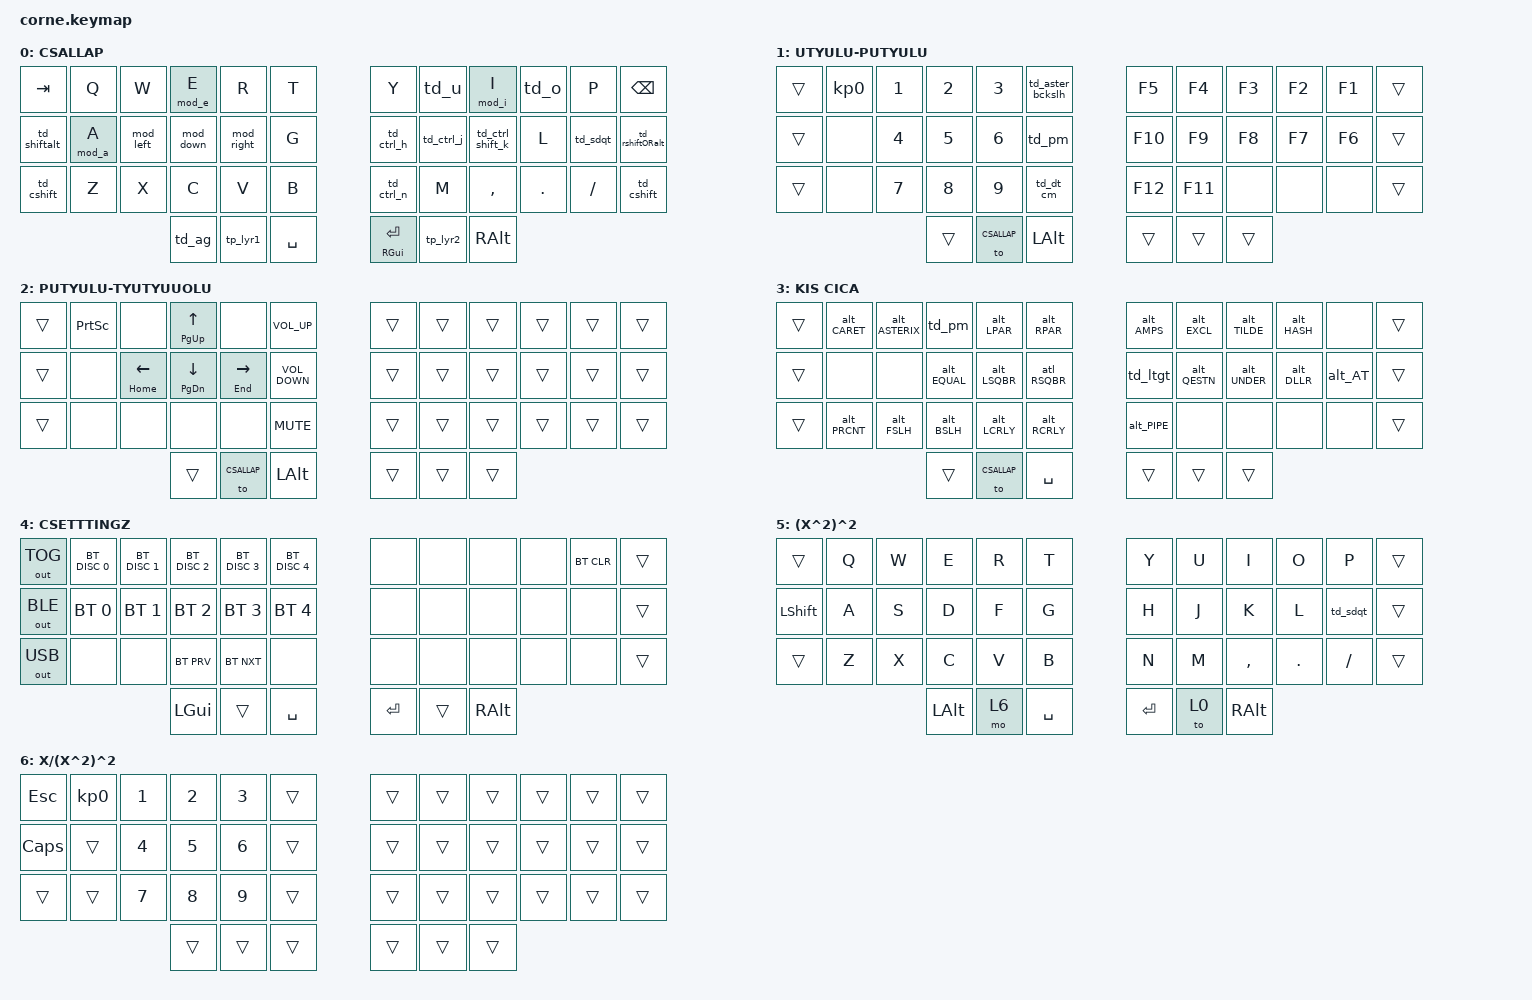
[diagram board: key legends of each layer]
#include <behaviors.dtsi>
#include <dt-bindings/zmk/bt.h>
#include <dt-bindings/zmk/keys.h>
#include <dt-bindings/zmk/outputs.h>
#define CSALLAP 0
#define NUMPAD 1
#define ARROW 2
#define KIS_CICA 3
#define CSETTINGZ 4
#define GAME 5
#define GAMENUM 6

    &caps_word {
        continue-list = <UNDERSCORE MINUS LALT N0 KP_N0 N1 N2 N3 N4 N5 N6 N7 N8 N9 NON_US_HASH LEFT_BRACKET>;
    };

/ {
 
    combos {

        compatible = "zmk,combos";

        combo_gamelayer {
            timeout-ms = <50>;
            key-positions = <37 40>;
            bindings = <&to GAME>;
        };

        combo_settinglayer {
            timeout-ms = <50>;
            key-positions = <0 36 11 41>;
            bindings = <&to CSETTINGZ>;
        };

        combo_numpadlayer {
            timeout-ms = <50>;
            key-positions = <0 36>;
            bindings = <&to NUMPAD>;
        };

        combo_baselayer {
            timeout-ms = <50>;
            key-positions = <37 38 39 40>;
            bindings = <&to CSALLAP>;
        };


        combo_ctrl_gui {
            timeout-ms = <50>;
            key-positions = <38 39>;
            bindings = <&kp LG(LCTRL)>;
        };


        combo_esc {
            timeout-ms = <50>;
            key-positions = <0 1>;
            bindings = <&kp ESC>;
        };

        combo_shiftalt {
            timeout-ms = <50>;
            key-positions = <12 13>;
            bindings = <&caps_word>;
        };

        combo_del {
            timeout-ms = <50>;
            key-positions = <10 11>;
            bindings = <&kp DEL>;
        };

        combo_gui {
            timeout-ms = <50>;
            key-positions = <22 23>;
            bindings = <&kp LGUI>;
        };
    };

    macros {
        m_alt_a: m_alt_a {
            compatible = "zmk,behavior-macro";
            #binding-cells = <0>;
            bindings =
                <&macro_press>,
                <&kp LALT>,
                <&macro_tap>,
                <&kp KP_N0 &kp KP_N2 &kp KP_N2 &kp KP_N5>,
                <&macro_release>,
                <&kp LALT>;
        };

        m_alt_CAPSA: m_alt_CAPSA {
            compatible = "zmk,behavior-macro";
            #binding-cells = <0>;
            bindings =
                <&macro_press>,
                <&kp LALT>,
                <&macro_tap>,
                <&kp KP_N0 &kp KP_N1 &kp KP_N9 &kp KP_N3>,
                <&macro_release>,
                <&kp LALT>;
        };

         m_alt_e: m_alt_e {
            compatible = "zmk,behavior-macro";
            #binding-cells = <0>;
            bindings =
                <&macro_press>,
                <&kp LALT>,
                <&macro_tap>,
                <&kp KP_N0 &kp KP_N2 &kp KP_N3 &kp KP_N3>,
                <&macro_release>,
                <&kp LALT>;
        };

        m_alt_CAPSE: m_alt_CAPSE {
            compatible = "zmk,behavior-macro";
            #binding-cells = <0>;
            bindings =
                <&macro_press>,
                <&kp LALT>,
                <&macro_tap>,
                <&kp KP_N0 &kp KP_N2 &kp KP_N0 &kp KP_N1>,
                <&macro_release>,
                <&kp LALT>;
        };

        m_alt_i: m_alt_i {
            compatible = "zmk,behavior-macro";
            #binding-cells = <0>;
            bindings =
                <&macro_press>,
                <&kp LALT>,
                <&macro_tap>,
                <&kp KP_N0 &kp KP_N2 &kp KP_N3 &kp KP_N7>,
                <&macro_release>,
                <&kp LALT>;
        };

        m_alt_CAPSI: m_alt_CAPSI {
            compatible = "zmk,behavior-macro";
            #binding-cells = <0>;
            bindings =
                <&macro_press>,
                <&kp LALT>,
                <&macro_tap>,
                <&kp KP_N0 &kp KP_N2 &kp KP_N0 &kp KP_N5>,
                <&macro_release>,
                <&kp LALT>;
        };

        m_alt_1_o: m_alt_1_o {
            compatible = "zmk,behavior-macro";
            #binding-cells = <0>;
            bindings =
                <&macro_press>,
                <&kp LALT>,
                <&macro_tap>,
                <&kp KP_N0 &kp KP_N2 &kp KP_N4 &kp KP_N3>,
                <&macro_release>,
                <&kp LALT>;
        };

        m_alt_1_CAPSO: m_alt_1_CAPSO {
            compatible = "zmk,behavior-macro";
            #binding-cells = <0>;
            bindings =
                <&macro_press>,
                <&kp LALT>,
                <&macro_tap>,
                <&kp KP_N0 &kp KP_N2 &kp KP_N1 &kp KP_N1>,
                <&macro_release>,
                <&kp LALT>;
        };
        

          m_alt_2_o: m_alt_2_o {
            compatible = "zmk,behavior-macro";
            #binding-cells = <0>;
            bindings =
                <&macro_press>,
                <&kp LALT>,
                <&macro_tap>,
                <&kp KP_N0 &kp KP_N2 &kp KP_N4 &kp KP_N6>,
                <&macro_release>,
                <&kp LALT>;
        };

        
        m_alt_2_CAPSO: m_alt_2_CAPSO {
            compatible = "zmk,behavior-macro";
            #binding-cells = <0>;
            bindings =
                <&macro_press>,
                <&kp LALT>,
                <&macro_tap>,
                <&kp KP_N0 &kp KP_N1 &kp KP_N5 &kp KP_N3>,
                <&macro_release>,
                <&kp LALT>;
        };

        m_alt_3_o: m_alt_3_o {
            compatible = "zmk,behavior-macro";
            #binding-cells = <0>;
            bindings =
                <&macro_press>,
                <&kp LALT>,
                <&macro_tap>,
                <&kp KP_N0 &kp KP_N3 &kp KP_N3 &kp KP_N7>,
                <&macro_release>,
                <&kp LALT>;
        };
        
        m_alt_3_CAPSO: m_alt_3_CAPSO {
            compatible = "zmk,behavior-macro";
            #binding-cells = <0>;
            bindings =
                <&macro_press>,
                <&kp LALT>,
                <&macro_tap>,
                <&kp KP_N0 &kp KP_N3 &kp KP_N3 &kp KP_N6>,
                <&macro_release>,
                <&kp LALT>;
        };

        m_alt_1_u: m_alt_1_u {
            compatible = "zmk,behavior-macro";
            #binding-cells = <0>;
            bindings =
                <&macro_press>,
                <&kp LALT>,
                <&macro_tap>,
                <&kp KP_N0 &kp KP_N2 &kp KP_N5 &kp KP_N0>,
                <&macro_release>,
                <&kp LALT>;
        };

        m_alt_1_CAPSU: m_alt_1_CAPSU {
            compatible = "zmk,behavior-macro";
            #binding-cells = <0>;
            bindings =
                <&macro_press>,
                <&kp LALT>,
                <&macro_tap>,
                <&kp KP_N0 &kp KP_N2 &kp KP_N1 &kp KP_N8>,
                <&macro_release>,
                <&kp LALT>;
        };

        m_alt_2_u: m_alt_2_u {
            compatible = "zmk,behavior-macro";
            #binding-cells = <0>;
            bindings =
                <&macro_press>,
                <&kp LALT>,
                <&macro_tap>,
                <&kp KP_N0 &kp KP_N2 &kp KP_N5 &kp KP_N2>,
                <&macro_release>,
                <&kp LALT>;
        };
        
        m_alt_2_CAPSU: m_alt_2_CAPSU {
            compatible = "zmk,behavior-macro";
            #binding-cells = <0>;
            bindings =
                <&macro_press>,
                <&kp LALT>,
                <&macro_tap>,
                <&kp KP_N0 &kp KP_N1 &kp KP_N5 &kp KP_N4>,
                <&macro_release>,
                <&kp LALT>;
        };

          m_alt_3_u: m_alt_3_u {
            compatible = "zmk,behavior-macro";
            #binding-cells = <0>;
            bindings =
                <&macro_press>,
                <&kp LALT>,
                <&macro_tap>,
                <&kp KP_N0 &kp KP_N3 &kp KP_N6 &kp KP_N9>,
                <&macro_release>,
                <&kp LALT>;
        };

        m_alt_3_CAPSU: m_alt_3_CAPSU {
            compatible = "zmk,behavior-macro";
            #binding-cells = <0>;
            bindings =
                <&macro_press>,
                <&kp LALT>,
                <&macro_tap>,
                <&kp KP_N0 &kp KP_N3 &kp KP_N6 &kp KP_N8>,
                <&macro_release>,
                <&kp LALT>;
        };

        // SPECIAL CHARS:
        //1ST ROW
        alt_CARET: alt_CARET {
            compatible = "zmk,behavior-macro";
            #binding-cells = <0>;
            bindings =
                <&macro_press>,
                <&kp LALT>,
                <&macro_tap>,
                <&kp KP_N9 &kp KP_N4>,
                <&macro_release>,
                <&kp LALT>;
        };

        alt_ASTERIX: alt_ASTERIX {
            compatible = "zmk,behavior-macro";
            #binding-cells = <0>;
            bindings =
                <&macro_press>,
                <&kp LALT>,
                <&macro_tap>,
                <&kp KP_N4 &kp KP_N2>,
                <&macro_release>,
                <&kp LALT>;
        };

        alt_LPAR: alt_LPAR {
            compatible = "zmk,behavior-macro";
            #binding-cells = <0>;
            bindings =
                <&macro_press>,
                <&kp LALT>,
                <&macro_tap>,
                <&kp KP_N4 &kp KP_N0>,
                <&macro_release>,
                <&kp LALT>;
        };

        alt_RPAR: alt_RPAR {
            compatible = "zmk,behavior-macro";
            #binding-cells = <0>;
            bindings =
                <&macro_press>,
                <&kp LALT>,
                <&macro_tap>,
                <&kp KP_N4 &kp KP_N1>,
                <&macro_release>,
                <&kp LALT>;
        };

        alt_AMPS: alt_AMPS {
            compatible = "zmk,behavior-macro";
            #binding-cells = <0>;
            bindings =
                <&macro_press>,
                <&kp LALT>,
                <&macro_tap>,
                <&kp KP_N3 &kp KP_N8>,
                <&macro_release>,
                <&kp LALT>;
        };

        alt_TILDE: alt_TILDE {
            compatible = "zmk,behavior-macro";
            #binding-cells = <0>;
            bindings =
                <&macro_press>,
                <&kp LALT>,
                <&macro_tap>,
                <&kp KP_N1 &kp KP_N2 &kp KP_N6>,
                <&macro_release>,
                <&kp LALT>;
        };

        alt_HASH: alt_HASH {
            compatible = "zmk,behavior-macro";
            #binding-cells = <0>;
            bindings =
                <&macro_press>,
                <&kp LALT>,
                <&macro_tap>,
                <&kp KP_N3 &kp KP_N5>,
                <&macro_release>,
                <&kp LALT>;
        };

        //2ND ROW
        alt_EQUAL: alt_EQUAL {
            compatible = "zmk,behavior-macro";
            #binding-cells = <0>;
            bindings =
                <&macro_press>,
                <&kp LALT>,
                <&macro_tap>,
                <&kp KP_N6 &kp KP_N1>,
                <&macro_release>,
                <&kp LALT>;
        };

        alt_LSQBR: alt_LSQBR {
            compatible = "zmk,behavior-macro";
            #binding-cells = <0>;
            bindings =
                <&macro_press>,
                <&kp LALT>,
                <&macro_tap>,
                <&kp KP_N9 &kp KP_N1>,
                <&macro_release>,
                <&kp LALT>;
        };

        atl_RSQBR: atl_RSQBR {
            compatible = "zmk,behavior-macro";
            #binding-cells = <0>;
            bindings =
                <&macro_press>,
                <&kp LALT>,
                <&macro_tap>,
                <&kp KP_N9 &kp KP_N3>,
                <&macro_release>,
                <&kp LALT>;
        };

        alt_PIPE: alt_PIPE {
            compatible = "zmk,behavior-macro";
            #binding-cells = <0>;
            bindings =
                <&macro_press>,
                <&kp LALT>,
                <&macro_tap>,
                <&kp KP_N1 &kp KP_N2 &kp KP_N4>,
                <&macro_release>,
                <&kp LALT>;
        };

        alt_lt: alt_lt {
            compatible = "zmk,behavior-macro";
            #binding-cells = <0>;
            bindings =
                <&macro_press>,
                <&kp LALT>,
                <&macro_tap>,
                <&kp KP_N6 &kp KP_N0>,
                <&macro_release>,
                <&kp LALT>;
        };

        alt_gt: alt_gt {
            compatible = "zmk,behavior-macro";
            #binding-cells = <0>;
            bindings =
                <&macro_press>,
                <&kp LALT>,
                <&macro_tap>,
                <&kp KP_N6 &kp KP_N2>,
                <&macro_release>,
                <&kp LALT>;
        };

        alt_GRAVE: alt_GRAVE {
            compatible = "zmk,behavior-macro";
            #binding-cells = <0>;
            bindings =
                <&macro_press>,
                <&kp LALT>,
                <&macro_tap>,
                <&kp KP_N9 &kp KP_N6>,
                <&macro_release>,
                <&kp LALT>;
        };

        alt_DLLR: alt_DLLR {
            compatible = "zmk,behavior-macro";
            #binding-cells = <0>;
            bindings =
                <&macro_press>,
                <&kp LALT>,
                <&macro_tap>,
                <&kp KP_N3 &kp KP_N6>,
                <&macro_release>,
                <&kp LALT>;
        };

        alt_AT: alt_AT {
            compatible = "zmk,behavior-macro";
            #binding-cells = <0>;
            bindings =
                <&macro_press>,
                <&kp LALT>,
                <&macro_tap>,
                <&kp KP_N6 &kp KP_N4>,
                <&macro_release>,
                <&kp LALT>;
        };

        //3RD ROW
        alt_PRCNT: alt_PRCNT {
            compatible = "zmk,behavior-macro";
            #binding-cells = <0>;
            bindings =
                <&macro_press>,
                <&kp LALT>,
                <&macro_tap>,
                <&kp KP_N3 &kp KP_N7>,
                <&macro_release>,
                <&kp LALT>;
        };

        alt_BSLH: alt_BSLH {
            compatible = "zmk,behavior-macro";
            #binding-cells = <0>;
            bindings =
                <&macro_press>,
                <&kp LALT>,
                <&macro_tap>,
                <&kp KP_N4 &kp KP_N7>,
                <&macro_release>,
                <&kp LALT>;
        };

        alt_FSLH: alt_FSLH {
            compatible = "zmk,behavior-macro";
            #binding-cells = <0>;
            bindings =
                <&macro_press>,
                <&kp LALT>,
                <&macro_tap>,
                <&kp KP_N9 &kp KP_N2>,
                <&macro_release>,
                <&kp LALT>;
        };

        alt_LCRLY: alt_LCRLY {
            compatible = "zmk,behavior-macro";
            #binding-cells = <0>;
            bindings =
                <&macro_press>,
                <&kp LALT>,
                <&macro_tap>,
                <&kp KP_N1 &kp KP_N2 &kp KP_N3>,
                <&macro_release>,
                <&kp LALT>;
        };

        alt_RCRLY: alt_RCRLY {
            compatible = "zmk,behavior-macro";
            #binding-cells = <0>;
            bindings =
                <&macro_press>,
                <&kp LALT>,
                <&macro_tap>,
                <&kp KP_N1 &kp KP_N2 &kp KP_N5>,
                <&macro_release>,
                <&kp LALT>;
        };

        alt_EXCL: alt_EXCL {
            compatible = "zmk,behavior-macro";
            #binding-cells = <0>;
            bindings =
                <&macro_press>,
                <&kp LALT>,
                <&macro_tap>,
                <&kp KP_N3 &kp KP_N3>,
                <&macro_release>,
                <&kp LALT>;
        };

        //SQT;DQT;MINUS;DOT;COMMA UNDER
        alt_COMMA: alt_COMMA {
            compatible = "zmk,behavior-macro";
            #binding-cells = <0>;
            bindings =
                <&macro_press>,
                <&kp LALT>,
                <&macro_tap>,
                <&kp KP_N4 &kp KP_N4>,
                <&macro_release>,
                <&kp LALT>;
        };

        alt_DOT: alt_DOT {
            compatible = "zmk,behavior-macro";
            #binding-cells = <0>;
            bindings =
                <&macro_press>,
                <&kp LALT>,
                <&macro_tap>,
                <&kp KP_N4 &kp KP_N6>,
                <&macro_release>,
                <&kp LALT>;
        };

        alt_MINUS: alt_MINUS {
            compatible = "zmk,behavior-macro";
            #binding-cells = <0>;
            bindings =
                <&macro_press>,
                <&kp LALT>,
                <&macro_tap>,
                <&kp KP_N4 &kp KP_N5>,
                <&macro_release>,
                <&kp LALT>;
        };

        alt_DQT: alt_DQT {
            compatible = "zmk,behavior-macro";
            #binding-cells = <0>;
            bindings =
                <&macro_press>,
                <&kp LALT>,
                <&macro_tap>,
                <&kp KP_N3 &kp KP_N4>,
                <&macro_release>,
                <&kp LALT>;
        };

        alt_SQT: alt_SQT {
            compatible = "zmk,behavior-macro";
            #binding-cells = <0>;
            bindings =
                <&macro_press>,
                <&kp LALT>,
                <&macro_tap>,
                <&kp KP_N3 &kp KP_N9>,
                <&macro_release>,
                <&kp LALT>;
        };

        alt_UNDER: alt_UNDER {
            compatible = "zmk,behavior-macro";
            #binding-cells = <0>;
            bindings =
                <&macro_press>,
                <&kp LALT>,
                <&macro_tap>,
                <&kp KP_N9 &kp KP_N5>,
                <&macro_release>,
                <&kp LALT>;
        };

        alt_lthn: alt_lthn {
            compatible = "zmk,behavior-macro";
            #binding-cells = <0>;
            bindings =
                <&macro_press>,
                <&kp LALT>,
                <&macro_tap>,
                <&kp KP_N6 &kp KP_N0>,
                <&macro_release>,
                <&kp LALT>;
        };

        alt_gthn: alt_gthn {
            compatible = "zmk,behavior-macro";
            #binding-cells = <0>;
            bindings =
                <&macro_press>,
                <&kp LALT>,
                <&macro_tap>,
                <&kp KP_N6 &kp KP_N2>,
                <&macro_release>,
                <&kp LALT>;
        };

        alt_QESTN: alt_QESTN {
            compatible = "zmk,behavior-macro";
            #binding-cells = <0>;
            bindings =
                <&macro_press>,
                <&kp LALT>,
                <&macro_tap>,
                <&kp KP_N6 &kp KP_N3>,
                <&macro_release>,
                <&kp LALT>;
        };

        alt_COLON: alt_COLON {
            compatible = "zmk,behavior-macro";
            #binding-cells = <0>;
            bindings =
                <&macro_press>,
                <&kp LALT>,
                <&macro_tap>,
                <&kp KP_N5 &kp KP_N8>,
                <&macro_release>,
                <&kp LALT>;
        };

        alt_USCR: alt_USCR {
            compatible = "zmk,behavior-macro";
            #binding-cells = <0>;
            bindings =
                <&macro_press>,
                <&kp LALT>,
                <&macro_tap>,
                <&kp KP_N9 &kp KP_N5>,
                <&macro_release>,
                <&kp LALT>;
        };

        //CTRL C+V
        ctrl_c: ctrl_c {
            compatible = "zmk,behavior-macro";
            #binding-cells = <0>;
            bindings =
                <&macro_press>,
                <&kp LCTRL>,
                <&macro_tap>,
                <&kp C>,
                <&macro_release>,
                <&kp LCTRL>;
        };

        ctrl_v: ctrl_v {
            compatible = "zmk,behavior-macro";
            #binding-cells = <0>;
            bindings =
                <&macro_press>,
                <&kp LCTRL>,
                <&macro_tap>,
                <&kp V>,
                <&macro_release>,
                <&kp LCTRL>;
        };

        ctrl_shft_k: ctrl_shft_k {
            compatible = "zmk,behavior-macro";
            #binding-cells = <0>;
            bindings =
                <&macro_press>,
                <&kp LCTRL>,
                <&macro_press>,
                <&kp LSHIFT>,
                <&macro_tap>,
                <&kp K>,
                <&macro_release>,
                <&kp LSHIFT>,
                <&macro_release>,
                <&kp LCTRL>;
        };
    };

behaviours {
 // MOD MORPH:
        mod_a: mod_a {
            compatible = "zmk,behavior-mod-morph";
            #binding-cells = <0>;
            bindings = <&m_alt_a>, <&m_alt_CAPSA>;
            mods = <(MOD_LGUI | MOD_LALT | MOD_RSFT | MOD_LSFT)>;
            keep-mods = <(MOD_LGUI | MOD_LALT | MOD_RSFT)>;
        };

        mod_e: mod_e {
            compatible = "zmk,behavior-mod-morph";
            #binding-cells = <0>;
            bindings = <&m_alt_e>, <&m_alt_CAPSE>;
            mods = <(MOD_LGUI | MOD_LALT | MOD_RSFT | MOD_LSFT)>;
            keep-mods = <(MOD_LGUI | MOD_LALT | MOD_RSFT )>;
        };

        mod_i: mod_i {
            compatible = "zmk,behavior-mod-morph";
            #binding-cells = <0>;
            bindings = <&m_alt_i>, <&m_alt_CAPSI>;
            mods = <(MOD_LGUI | MOD_LALT | MOD_RSFT | MOD_LSFT)>;
            keep-mods = <(MOD_LGUI | MOD_LALT | MOD_RSFT)>;
        };

        mod_o_1: mod_o_1 {
            compatible = "zmk,behavior-mod-morph";
            #binding-cells = <0>;
            bindings = <&m_alt_1_o>, <&m_alt_1_CAPSO>;
            mods = <(MOD_LGUI | MOD_LALT | MOD_RSFT | MOD_LSFT)>;
            keep-mods = <(MOD_LGUI | MOD_LALT | MOD_RSFT)>;
        };

        mod_o_2: mod_o_2 {
            compatible = "zmk,behavior-mod-morph";
            #binding-cells = <0>;
            bindings = <&m_alt_2_o>, <&kp N0>;
            mods = <(MOD_LGUI | MOD_LALT | MOD_RSFT | MOD_LSFT)>;
            keep-mods = <(MOD_LGUI | MOD_LALT | MOD_RSFT | MOD_LSFT)>;
        };

        mod_o_3: mod_o_3 {
            compatible = "zmk,behavior-mod-morph";
            #binding-cells = <0>;
            bindings = <&kp LEFT_BRACKET>, <&kp LEFT_BRACKET>;
            mods = <(MOD_LGUI | MOD_LALT | MOD_RSFT | MOD_LSFT)>;
            keep-mods = <(MOD_LGUI | MOD_LALT | MOD_RSFT | MOD_LSFT)>;
        };

        mod_u_1: mod_u_1 {
            compatible = "zmk,behavior-mod-morph";
            #binding-cells = <0>;
            bindings = <&m_alt_1_u>, <&m_alt_1_CAPSU>;
            mods = <(MOD_LGUI | MOD_LALT | MOD_RSFT | MOD_LSFT)>;
            keep-mods = <(MOD_LGUI | MOD_LALT | MOD_RSFT)>;
        };

        mod_u_2: mod_u_2 {
            compatible = "zmk,behavior-mod-morph";
            #binding-cells = <0>;
            bindings = <&m_alt_2_u>, <&kp MINUS>;
            mods = <(MOD_LGUI | MOD_LALT | MOD_RSFT | MOD_LSFT)>;
            keep-mods = <(MOD_LGUI | MOD_LALT | MOD_RSFT | MOD_LSFT)>;
        };

        mod_u_3: mod_u_3 {
            compatible = "zmk,behavior-mod-morph";
            #binding-cells = <0>;
            bindings = <&kp NON_US_HASH>, <&kp NON_US_HASH>;
            mods = <(MOD_LGUI | MOD_LALT | MOD_RSFT | MOD_LSFT)>;
            keep-mods = <(MOD_LGUI | MOD_LALT | MOD_RSFT | MOD_LSFT)>;
        };

        mod_up: mod_up {
            compatible = "zmk,behavior-mod-morph";
            #binding-cells = <0>;
            bindings = <&kp E>, <&kp UP>;
              mods = <(MOD_LGUI | MOD_RSFT)>;
            keep-mods = <(MOD_LGUI|MOD_RSFT)>;
        };

        mod_down: mod_down {
            compatible = "zmk,behavior-mod-morph";
            #binding-cells = <0>;
            bindings = <&kp D>, <&kp DOWN>;
             mods = <(MOD_LGUI | MOD_RSFT)>;
            keep-mods = <(MOD_LGUI|MOD_RSFT)>;
        };
        
        mod_left: mod_left {
            compatible = "zmk,behavior-mod-morph";
            #binding-cells = <0>;
            bindings = <&kp S>, <&kp LEFT>;
            mods = <(MOD_LGUI | MOD_RSFT)>;
            keep-mods = <(MOD_LGUI|MOD_RSFT)>;
        };

        mod_right: mod_right {
            compatible = "zmk,behavior-mod-morph";
            #binding-cells = <0>;
            bindings = <&kp F>, <&kp RIGHT>;
            mods = <(MOD_LGUI | MOD_RSFT)>;
            keep-mods = <(MOD_LGUI|MOD_RSFT)>;
        };   

       

 // HOLD TAP
        a_ht: a_hold_tap {
            compatible = "zmk,behavior-hold-tap";
            #binding-cells = <2>;
            tapping-term-ms = <220>;
            require-prior-idle-ms = <200>;
            flavor = "tap-preferred";
            bindings = <&mod_a>, <&kp>;
        };

        e_ht: e_hold_tap {
            compatible = "zmk,behavior-hold-tap";
            #binding-cells = <2>;
            tapping-term-ms = <220>;
            require-prior-idle-ms = <200>;
            flavor = "tap-preferred";
            bindings = <&mod_e>, <&mod_up>;
        };

        i_ht: i_hold_tap {
            compatible = "zmk,behavior-hold-tap";
            #binding-cells = <2>;
            tapping-term-ms = <220>;
            require-prior-idle-ms = <200>;
            flavor = "tap-preferred";
            bindings = <&mod_i>, <&kp>;
        };

        o_1_ht: o_1_hold_tap {
            compatible = "zmk,behavior-hold-tap";
            #binding-cells = <2>;
            tapping-term-ms = <220>;
            require-prior-idle-ms = <200>;
            flavor = "tap-preferred";
            bindings = <&mod_o_1>, <&kp>;
        };

        o_2_ht: o_2_hold_tap {
            compatible = "zmk,behavior-hold-tap";
            #binding-cells = <2>;
            tapping-term-ms = <220>;
            require-prior-idle-ms = <200>;
            flavor = "tap-preferred";
            bindings = <&mod_o_3>, <&mod_o_2>;
        };

        u_1_ht: u_1_hold_tap {
            compatible = "zmk,behavior-hold-tap";
            #binding-cells = <2>;
            tapping-term-ms = <220>;
            require-prior-idle-ms = <200>;
            flavor = "tap-preferred";
            bindings = <&mod_u_1>, <&kp>;
        };

        u_2_ht: u_2_hold_tap {
            compatible = "zmk,behavior-hold-tap";
            #binding-cells = <2>;
            tapping-term-ms = <220>;
            require-prior-idle-ms = <200>;
            flavor = "tap-preferred";
            bindings = <&mod_u_3>, <&mod_u_2>;
        };

        // SDQT_ht: SDQT_hold_tap {
        //     compatible = "zmk,behavior-hold-tap";
        //     #binding-cells = <2>;
        //     tapping-term-ms = <150>;
        //     require-prior-idle-ms = <125>;
        //     flavor = "tap-preferred";
        //     bindings = <&alt_DQT>, <&alt_SQT>;
        // };

        apos_ht: apos_ht {
            compatible = "zmk,behavior-hold-tap";
            #binding-cells = <2>;
            tapping-term-ms = <150>; 
            require-prior-idle-ms = <125>;
            flavor = "tap-preferred";
            bindings = <&alt_GRAVE>, <&alt_SQT>;
        };
        

        //TAP DANCE
        //TapDance for: o ó ö ő

        td_o: tap_dance_o {
            compatible = "zmk,behavior-tap-dance";
            #binding-cells = <0>;
            tapping-term-ms = <150>;
            bindings = <&o_1_ht 0 O>, <&o_2_ht 0 0>;
        };

        

        //TapDance for: u ú ü ű

        td_u: tap_dance_u {
            compatible = "zmk,behavior-tap-dance";
            #binding-cells = <0>;
            tapping-term-ms = <150>;
            bindings = <&u_1_ht 0 U>, <&u_2_ht 0 0>;
        };

        td_ag: tap_dance_alt_gui {
            compatible = "zmk,behavior-tap-dance";
            #binding-cells = <0>;
            tapping-term-ms = <250>;
            bindings = <&kp LALT>, <&kp LGUI>;
        };

        td_pm: tap_dance_plus_minus {
            compatible = "zmk,behavior-tap-dance";
            #binding-cells = <0>;
            tapping-term-ms = <150>;
            bindings = <&kp KP_PLUS>, <&kp KP_MINUS>;
        };

        td_ltgt: tap_dance_less_bigger_than {
            compatible = "zmk,behavior-tap-dance";
            #binding-cells = <0>;
            tapping-term-ms = <150>;
            bindings = <&alt_lt>, <&alt_gt>;
        };

        td_n1f1: tap_dance_n1_f1 {
            compatible = "zmk,behavior-tap-dance";
            #binding-cells = <0>;
            tapping-term-ms = <150>;
            bindings = <&kp N1>, <&kp F1>;
        };

        td_n2f2: tap_dance_n2_f2 {
            compatible = "zmk,behavior-tap-dance";
            compatible = "zmk,behavior-tap-dance";
            #binding-cells = <0>;
            tapping-term-ms = <150>;
            bindings = <&kp N2>, <&kp F2>;
        };

        td_n3f3: tap_dance_n3_f3 {
            compatible = "zmk,behavior-tap-dance";
            #binding-cells = <0>;
            tapping-term-ms = <150>;
            bindings = <&kp N3>, <&kp F3>;
        };

        td_n4f4: tap_dance_n4_f4 {
            compatible = "zmk,behavior-tap-dance";
            #binding-cells = <0>;
            tapping-term-ms = <150>;
            bindings = <&kp N4>, <&kp F4>;
        };

        td_n5f6: tap_dance_n5_f5 {
            compatible = "zmk,behavior-tap-dance";
            #binding-cells = <0>;
            tapping-term-ms = <150>;
            bindings = <&kp N5>, <&kp F5>;
        };

        td_n6f5: tap_dance_n6_f5 {
            compatible = "zmk,behavior-tap-dance";
            #binding-cells = <0>;
            tapping-term-ms = <150>;
            bindings = <&kp N6>, <&kp F5>;
        };

        td_n7f6: tap_dance_n7_f6 {
            compatible = "zmk,behavior-tap-dance";
            #binding-cells = <0>;
            tapping-term-ms = <150>;
            bindings = <&kp N7>, <&kp F6>;
        };

        td_n8f7: tap_dance_n8_f7 {
            compatible = "zmk,behavior-tap-dance";
            #binding-cells = <0>;
            tapping-term-ms = <150>;
            bindings = <&kp N8>, <&kp F7>;
        };

        td_n9f8: tap_dance_n9_f8 {
            compatible = "zmk,behavior-tap-dance";
            #binding-cells = <0>;
            tapping-term-ms = <150>;
            bindings = <&kp N9>, <&kp F9>;
        };

        td_sdqt: tap_dance_sdqt {
            compatible = "zmk,behavior-tap-dance";
            #binding-cells = <0>;
            tapping-term-ms = <200>;
            bindings = <&apos_ht 0 0>, <&alt_DQT>;
        };

        //CTRL_C + V tapD
        td_ctrl_c: tap_dance_ctrl_c {
            compatible = "zmk,behavior-tap-dance";
            #binding-cells = <0>;
            tapping-term-ms = <150>;
            bindings = <&kp C>, <&kp LC(C)>;
        };

        td_ctrl_v: tap_dance_ctrl_v {
            compatible = "zmk,behavior-tap-dance";
            #binding-cells = <0>;
            tapping-term-ms = <150>;
            bindings = <&kp V>, <&kp LC(V)>;
        };

        td_ctrl_z: tap_dance_ctrl_z {
            compatible = "zmk,behavior-tap-dance";
            #binding-cells = <0>;
            tapping-term-ms = <150>;
            bindings = <&kp Z>, <&kp LC(Z)>;
        };
        
        td_ctrl_y: tap_dance_ctrl_y {
            compatible = "zmk,behavior-tap-dance";
            #binding-cells = <0>;
            tapping-term-ms = <150>;
            bindings = <&kp Y>, <&kp LC(Y)>;
        };

        td_ctrl_x: tap_dance_ctrl_x {
            compatible = "zmk,behavior-tap-dance";
            #binding-cells = <0>;
            tapping-term-ms = <150>;
            bindings = <&kp X>, <&kp LC(X)>;
        };

        td_ctrl_b: tap_dance_ctrl_b {
            compatible = "zmk,behavior-tap-dance";
            #binding-cells = <0>;
            tapping-term-ms = <150>;
            bindings = <&kp B>, <&kp LC(B)>;
        };

        td_ctrl_n: tap_dance_ctrl_n {
            compatible = "zmk,behavior-tap-dance";
            #binding-cells = <0>;
            tapping-term-ms = <150>;
            bindings = <&kp N>, <&kp LC(N)>;
        };
        
        td_ctrl_j: tap_dance_ctrl_j {
            compatible = "zmk,behavior-tap-dance";
            #binding-cells = <0>;
            tapping-term-ms = <150>;
            bindings = <&kp J>, <&kp LC(J)>;
        };

        
        td_ctrl_t: tap_dance_ctrl_t {
            compatible = "zmk,behavior-tap-dance";
            #binding-cells = <0>;
            tapping-term-ms = <150>;
            bindings = <&kp T>, <&kp LC(T)>;
        };
        
        td_ctrl_h: tap_dance_ctrl_h {
            compatible = "zmk,behavior-tap-dance";
            #binding-cells = <0>;
            tapping-term-ms = <150>;
            bindings = <&kp H>, <&kp LC(H)>;
        };
        
        td_ctrl_w: tap_dance_ctrl_w {
            compatible = "zmk,behavior-tap-dance";
            #binding-cells = <0>;
            tapping-term-ms = <150>;
            bindings = <&kp W>, <&kp LC(W)>;
        };
        
        td_ctrl_q: tap_dance_ctrl_q {
            compatible = "zmk,behavior-tap-dance";
            #binding-cells = <0>;
            tapping-term-ms = <150>;
            bindings = <&kp Q>, <&kp LC(Q)>;
        };
        
        td_ctrl_r: tap_dance_ctrl_r {
            compatible = "zmk,behavior-tap-dance";
            #binding-cells = <0>;
            tapping-term-ms = <150>;
            bindings = <&kp R>, <&kp LC(R)>;
        };


        td_ctrl_shift_k: tap_dance_ctrl_shift_k {                   
            compatible = "zmk,behavior-tap-dance";
            #binding-cells = <0>;
            tapping-term-ms = <150>;
            bindings = <&kp K>, <&ctrl_shft_k>;
        };

        td_cshift: tap_dance_cshift {
            compatible = "zmk,behavior-tap-dance";
            #binding-cells = <0>;
            tapping-term-ms = <300>;
            bindings = <&kp LCTRL>, <&kp LC(LSHIFT)>;
        };

        td_shiftalt: tap_dance_shiftalt {
            compatible = "zmk,behavior-tap-dance";
            #binding-cells = <0>;
            tapping-term-ms = <300>;
            bindings = <&kp LSHIFT>, <&kp LS(LALT)>;
        };

        td_rshiftORalt: tap_dance_shift_ {
            compatible = "zmk,behavior-tap-dance";
            #binding-cells = <0>;
            tapping-term-ms = <300>;
            bindings = <&kp RSHIFT>, <&kp LALT>;
        };

        td_aster_bckslh: tap_dance_asterix_backslash {
            compatible = "zmk,behavior-tap-dance";
            #binding-cells = <0>;
            tapping-term-ms = <200>;
            bindings = <&alt_ASTERIX>, <&alt_BSLH>;
        };


        td_dt_cm: tap_dance_dot_comma {
            compatible = "zmk,behavior-tap-dance";
            #binding-cells = <0>;
            tapping-term-ms = <200>;
            bindings = <&kp DOT>, <&kp COMMA>;
        };

        tp_lyr1: tap_dance_layer1 {
            compatible = "zmk,behavior-tap-dance";
            #binding-cells = <0>;
            tapping-term-ms = <300>;
            bindings = <&mo ARROW>, <&mo NUMPAD>;
        };

        tp_lyr2: tap_dance_layer2 {
              compatible = "zmk,behavior-tap-dance";
            #binding-cells = <0>;
            tapping-term-ms = <300>;
            bindings = <&mo KIS_CICA>, <&mo ARROW>, <&mo CSETTINGZ>;
        };
    };




    keymap {
        compatible = "zmk,keymap";

        base_layer {  
            // -----------------------------------------------------------------------------------------
            // |  TAB |  Q  |  W  |  E  |  R  |  T  |   |  Y  |  U   |  I  |  O  |  P  | BKSP |
            // | CTRL |  A  |  S  |  D  |  F  |  G  |   |  H  |  J   |  K  |  L  |  ;  |  '   |
            // | SHFT |  Z  |  X  |  C  |  V  |  B  |   |  N  |  M   |  ,  |  .  |  /  | ESC  |
            //                    | GUI | LWR | SPC |   | ENT | RSE  | ALT |
            // 0 11 36 41 settings layer
            // 0 11 36 41 settings laye

        
            display-name = "CSALLAP";
            bindings = <
&kp TAB       &kp Q     &kp W     &e_ht 0 E  &kp R     &kp T       &kp Y     &td_u     &i_ht 0 I  &td_o    &kp P     &kp BSPC
&td_shiftalt  &a_ht 0 A  &mod_left &mod_down  &mod_right &kp G            &td_ctrl_h         &td_ctrl_j     &td_ctrl_shift_k    &kp L    &td_sdqt  &td_rshiftORalt
&td_cshift    &kp Z &kp X     &kp C &kp V &kp B       &td_ctrl_n         &kp M     &kp COMMA  &kp DOT  &kp FSLH  &td_cshift
                                   &td_ag     &tp_lyr1   &kp SPACE   &mt RGUI ENTER &tp_lyr2  &kp RALT
            >;
        };

        num_layer {
            display-name = "UTYULU-PUTYULU";
            bindings = <
&trans  &kp KP_N0    &kp N1  &kp N2  &kp N3  &td_aster_bckslh  &kp F5  &kp F4  &kp F3  &kp F2  &kp F1  &trans
&trans  &none     &kp N4  &kp N5  &kp N6  &td_pm            &kp F10 &kp F9  &kp F8  &kp F7  &kp F6  &trans
&trans  &none     &kp N7  &kp N8  &kp N9  &td_dt_cm         &kp F12 &kp F11 &none   &none   &none   &trans
                          &trans  &to CSALLAP  &kp LALT            &trans  &trans  &trans
            >;
        };
        arrow_layer {
            display-name = "PUTYULU-TYUTYUUOLU";
            bindings = <
&trans  &kp PRINTSCREEN  &none         &mt PG_UP UP    &none          &kp C_VOLUME_UP            &trans &trans  &trans  &trans  &trans &trans
&trans  &none            &mt HOME LEFT &mt PG_DN DOWN  &mt END RIGHT  &kp C_VOLUME_DOWN          &trans &trans  &trans  &trans  &trans &trans
&trans  &none            &none         &none           &none          &kp C_MUTE                 &trans &trans  &trans  &trans  &trans &trans
                                       &trans          &to CSALLAP         &kp LALT                     &trans   &trans    &trans
            >;
        };

        bracket_layer {
            // -----------------------------------------------------------------------------------------
            // |  TAB |   ^  |   *  | -/+ |  (  |  )  |        |  &  |    !  |   :  |  #  |     | DEl |
            // | CTRL |     |      |  =  |  [  |  ]  |        |  <>  |  ?  |  _   |   $  |    |     |
            // | SHFT |  %  |  /  |  \  |  {  |  }  |        |  |  |      |     |   @    |     |     |
            //                    | GUI |     | SPC |        | ENT |     | ALT |
            //


            display-name = "KIS CICA";
            bindings = <
&trans  &alt_CARET  &alt_ASTERIX  &td_pm      &alt_LPAR   &alt_RPAR     &alt_AMPS  &alt_EXCL &alt_TILDE  &alt_HASH  &none    &trans
&trans  &none       &none         &alt_EQUAL  &alt_LSQBR  &atl_RSQBR    &td_ltgt   &alt_QESTN  &alt_UNDER &alt_DLLR  &alt_AT  &trans
&trans  &alt_PRCNT  &alt_FSLH     &alt_BSLH   &alt_LCRLY  &alt_RCRLY    &alt_PIPE  &none     &none       &none      &none    &trans
                                  &trans      &to CSALLAP     &kp SPACE       &trans     &trans    &trans
            >;
        };

        setting_layer {
            // -----------------------------------------------------------------------------------------
            // |  TAB |  1  |  2  |  3  |  4  |  5  |   |  6  |  7  |  8  |  9  |  0  | BKSP |
            // | BTCLR| BT1 | BT2 | BT3 | BT4 | BT5 |   | LFT | DWN |  UP | RGT |     |      |
            // | SHFT |     |     |     |     |     |   |     |     |     |     |     |      |
            //                    | GUI |     | SPC |   | ENT |     | ALT |dsf
            

            display-name = "CSETTTINGZ";
            bindings = <
&out OUT_TOG  &bt BT_DISC 0  &bt BT_DISC 1  &bt BT_DISC 2  &bt BT_DISC 3  &bt BT_DISC 4    &none    &none   &none     &none  &bt BT_CLR  &trans
&out OUT_BLE  &bt BT_SEL 0   &bt BT_SEL 1   &bt BT_SEL 2   &bt BT_SEL 3   &bt BT_SEL 4     &none    &none   &none     &none  &none  &trans
&out OUT_USB  &none          &none          &bt BT_PRV     &bt BT_NXT     &none            &none    &none   &none     &none  &none  &trans
                                            &kp LGUI       &trans        &kp SPACE        &kp RET  &trans  &kp RALT
            >;
        };
        

        game_layer {
            // -----------------------------------------------------------------------------------------
            // |  TAB |  1  |  2  |  3  |  4  |  5  |   |  6  |  7  |  8  |  9  |  0  | BKSP |
            // | BTCLR| BT1 | BT2 | BT3 | BT4 | BT5 |   | LFT | DWN |  UP | RGT |     |      |
            // | SHFT |     |     |     |     |     |   |     |     |     |     |     |      |
            //                    | GUI |     | SPC |   | ENT |     | ALT |
            // eeee""-.,-,"01235456789

            display-name = "(X^2)^2";
            bindings = <
&trans    &kp Q  &kp W  &kp E     &kp R  &kp T        &kp Y    &kp U  &kp I       &kp O     &kp P       &trans
&kp LSHFT  &kp A  &kp S  &kp D     &kp F  &kp G        &kp H    &kp J  &kp K       &kp L     &td_sdqt   &trans
&trans  &kp Z  &kp X  &kp C     &kp V  &kp B        &kp N    &kp M  &kp COMMA  &kp DOT  &kp FSLH   &trans
                         &kp LALT  &mo 6  &kp SPACE    &kp RET  &to 0  &kp RALT
            >;
        };

        sub_game_layer {
            // -----------------------------------------------------------------------------------------
            // |  TAB |  1  |  2  |  3  |  4  |  5  |   |  6  |  7  |  8  |  9  |  0  | BKSP |
            // | BTCLR| BT1 | BT2 | BT3 | BT4 | BT5 |   | LFT | DWN |  UP | RGT |     |      |
            // | SHFT |     |     |     |     |     |   |     |     |     |     |     |      |
            //                    | GUI |     | SPC |   | ENT |     | ALT |

            display-name = "X/(X^2)^2";
            bindings = <
&kp ESC   &kp KP_N0  &kp N1  &kp N2  &kp N3  &trans    &trans  &trans  &trans  &trans  &trans  &trans
&kp CAPS  &trans     &kp N4  &kp N5  &kp N6  &trans    &trans  &trans  &trans  &trans  &trans  &trans
&trans    &trans     &kp N7  &kp N8  &kp N9  &trans    &trans  &trans  &trans  &trans  &trans  &trans
                             &trans  &trans  &trans    &trans  &trans  &trans
            >;
        };
    };
};



